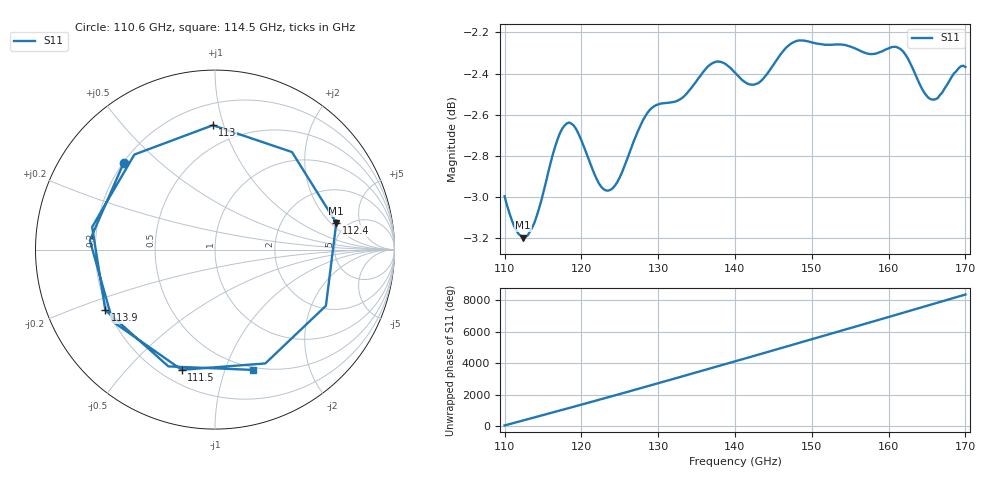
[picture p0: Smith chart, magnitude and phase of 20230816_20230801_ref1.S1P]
! C:\Users\Solidworker\Documents\VNA\mmiller\20230801.S1P
! Touchstone 1.1 file saved by VNA.EXE V1.65 (www.ke5fx.com/gpib/readme.htm)
! 8/16/2023 2:55:39 PM
!  Source: HP8510C.07.10: Mar 30  1995
!  Min freq: 1.100000E+011 Hz
!  Max freq: 1.700000E+011 Hz
!  Points: 201
!  Params: S11
# GHZ S MA R 50
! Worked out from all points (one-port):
!   201 points, 110 GHz to 170 GHz, reference 50 ohm
!   lowest |S11| = -3.2 dB at 112.4 GHz (marker M1), VSWR 5.49, Z = 205 + j117 ohm
!   |S11| at or under -10 dB: nowhere
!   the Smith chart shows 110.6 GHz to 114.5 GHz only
!   S11 on the Smith chart (normalised r, x): 110.6 GHz: 0.20, +0.39; 111.5 GHz: 0.28, -0.72; 112.4 GHz: 4.09, +2.34; 113 GHz: 0.35, +0.92; 113.9 GHz: 0.19, -0.25; 114.5 GHz: 0.47, -1.26
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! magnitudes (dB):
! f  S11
! 110 GHz  -3.0
! 110.6 GHz  -3.1
! 111.5 GHz  -3.2
! 112.4 GHz  -3.2
! 113 GHz  -3.2
! 113.9 GHz  -3.1
! 114.5 GHz  -3.1
! 116.3 GHz  -2.8
! 117.5 GHz  -2.7
! 119 GHz  -2.7
! 122.9 GHz  -3.0
! 124.1 GHz  -3.0
! 125 GHz  -2.9
! 128.6 GHz  -2.6
! 132.5 GHz  -2.5
! 137.3 GHz  -2.3
! 140 GHz  -2.4
! 141.5 GHz  -2.4
! 143 GHz  -2.4
! 147.5 GHz  -2.3
! 155 GHz  -2.3
! 157.7 GHz  -2.3
! 161 GHz  -2.3
! 162.5 GHz  -2.3
! 164.6 GHz  -2.5
! 165.8 GHz  -2.5
! 169.1 GHz  -2.4
! 170 GHz  -2.4
